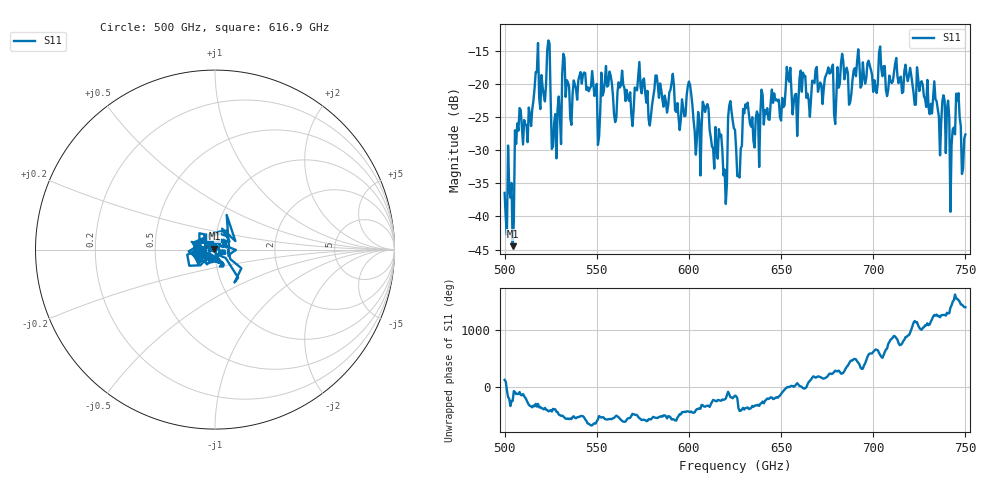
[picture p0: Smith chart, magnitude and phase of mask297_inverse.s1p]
!Created with skrf (http://scikit-rf.org).
# GHz S MA R 50.0
!freq magS11 angS11
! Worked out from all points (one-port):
!   401 points, 500 GHz to 750 GHz, reference 50 ohm
!   lowest |S11| = -44.5 dB at 504.4 GHz (marker M1), VSWR 1.01, Z = 49.7 + j0.499 ohm
!   |S11| at or under -10 dB: start of sweep to end of sweep
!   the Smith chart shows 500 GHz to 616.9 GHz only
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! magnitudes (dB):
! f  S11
! 500 GHz  -36.4
! 504.4 GHz  -44.5
! 506.9 GHz  -26.0
! 513.8 GHz  -24.6
! 516.9 GHz  -18.2
! 523.8 GHz  -13.4
! 526.9 GHz  -25.9
! 531.2 GHz  -18.5
! 542.5 GHz  -18.6
! 550.6 GHz  -29.2
! 562.5 GHz  -20.5
! 590.6 GHz  -19.8
! 593.8 GHz  -22.9
! 600 GHz  -19.6
! 605 GHz  -24.2
! 609.4 GHz  -23.4
! 619.4 GHz  -32.9
! 622.5 GHz  -22.6
! 625 GHz  -26.9
! 627.5 GHz  -34.1
! 630.6 GHz  -23.1
! 636.9 GHz  -24.1
! 656.2 GHz  -24.6
! 687.5 GHz  -22.8
! 718.8 GHz  -19.6
! 743.1 GHz  -26.8
! 746.2 GHz  -21.4
! 750 GHz  -27.6
